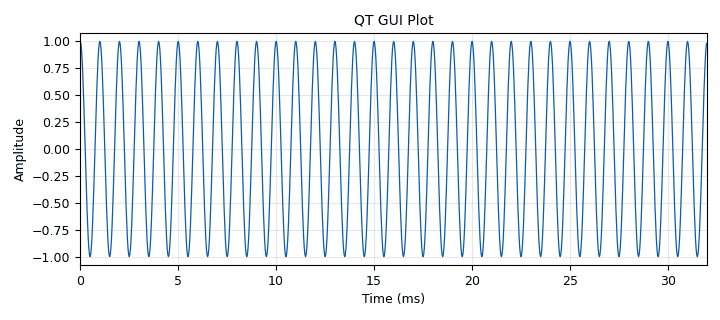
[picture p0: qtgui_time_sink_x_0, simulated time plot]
<?xml version='1.0' encoding='utf-8'?>
<flow_graph>
<block>
<key>options</key>
<param><key>id</key><value>matrix_multiply_demo</value></param>
<param><key>title</key><value>Matrix Multiply/Multiplex Demo</value></param>
<param><key>author</key><value>Martin Braun</value></param>
<param><key>description</key><value>A demonstration of multiply_matrix_ff to demonstrate how to use it for stream selection</value></param>
<param><key>generate_options</key><value>qt_gui</value></param>
<param><key>category</key><value>Custom</value></param>
</block>
<block>
<key>variable</key>
<param><key>id</key><value>samp_rate</value></param>
<param><key>value</key><value>32000</value></param>
</block>
<block>
<key>blocks_null_source</key>
<param><key>id</key><value>blocks_null_source_0</value></param>
<param><key>type</key><value>float</value></param>
<param><key>bus_conns</key><value>[[0,],]</value></param>
</block>
<block>
<key>analog_sig_source_x</key>
<param><key>id</key><value>analog_sig_source_x_0</value></param>
<param><key>type</key><value>float</value></param>
<param><key>samp_rate</key><value>samp_rate</value></param>
<param><key>waveform</key><value>analog.GR_COS_WAVE</value></param>
<param><key>freq</key><value>1000</value></param>
<param><key>amp</key><value>1</value></param>
<param><key>offset</key><value>0</value></param>
</block>
<block>
<key>qtgui_time_sink_x</key>
<param><key>id</key><value>qtgui_time_sink_x_0</value></param>
<param><key>type</key><value>float</value></param>
<param><key>name</key><value>QT GUI Plot</value></param>
<param><key>size</key><value>1024</value></param>
<param><key>srate</key><value>samp_rate</value></param>
<param><key>label1</key><value></value></param>
<param><key>color1</key><value>"blue"</value></param>
</block>
<block>
<key>qtgui_time_sink_x</key>
<param><key>id</key><value>qtgui_time_sink_x_1</value></param>
<param><key>type</key><value>float</value></param>
<param><key>name</key><value>QT GUI Plot</value></param>
<param><key>size</key><value>1024</value></param>
<param><key>srate</key><value>samp_rate</value></param>
<param><key>label1</key><value></value></param>
<param><key>color1</key><value>"blue"</value></param>
</block>
<block>
<key>blocks_multiply_matrix_xx</key>
<param><key>id</key><value>blocks_multiply_matrix_xx_0</value></param>
<param><key>type</key><value>float</value></param>
<param><key>tag_propagation_policy</key><value>999</value></param>
</block>
<block>
<key>blocks_stream_to_tagged_stream</key>
<param><key>id</key><value>blocks_stream_to_tagged_stream_0</value></param>
<param><key>type</key><value>float</value></param>
<param><key>packet_len</key><value>100</value></param>
<param><key>len_tag_key</key><value>"packet_len"</value></param>
</block>
<block>
<key>blocks_message_strobe</key>
<param><key>id</key><value>blocks_message_strobe_0</value></param>
<param><key>msg</key><value>pmt.to_pmt(new_A)</value></param>
<param><key>period</key><value>1000</value></param>
</block>
<block>
<key>variable_qtgui_chooser</key>
<param><key>id</key><value>new_A</value></param>
<param><key>label</key><value>Mode</value></param>
<param><key>type</key><value>raw</value></param>
<param><key>num_opts</key><value>3</value></param>
<param><key>value</key><value>((1, 0), (0, 1))</value></param>
<param><key>option0</key><value>((1, 0), (0, 1))</value></param>
<param><key>label0</key><value>Default</value></param>
<param><key>option1</key><value>((0, 1), (1, 0))</value></param>
<param><key>label1</key><value>Flip</value></param>
<param><key>option2</key><value>((.5, .5), (.5, .5))</value></param>
<param><key>label2</key><value>Mix</value></param>
</block>
<connection><source_block_id>blocks_null_source_0</source_block_id><sink_block_id>blocks_stream_to_tagged_stream_0</sink_block_id><source_key>0</source_key><sink_key>0</sink_key></connection>
<connection><source_block_id>analog_sig_source_x_0</source_block_id><sink_block_id>blocks_multiply_matrix_xx_0</sink_block_id><source_key>0</source_key><sink_key>0</sink_key></connection>
<connection><source_block_id>blocks_stream_to_tagged_stream_0</source_block_id><sink_block_id>blocks_multiply_matrix_xx_0</sink_block_id><source_key>0</source_key><sink_key>1</sink_key></connection>
<connection><source_block_id>blocks_multiply_matrix_xx_0</source_block_id><sink_block_id>qtgui_time_sink_x_0</sink_block_id><source_key>0</source_key><sink_key>0</sink_key></connection>
<connection><source_block_id>blocks_multiply_matrix_xx_0</source_block_id><sink_block_id>qtgui_time_sink_x_1</sink_block_id><source_key>1</source_key><sink_key>0</sink_key></connection>
<connection><source_block_id>blocks_message_strobe_0</source_block_id><sink_block_id>blocks_multiply_matrix_xx_0</sink_block_id><source_key>strobe</source_key><sink_key>set_A</sink_key></connection>
</flow_graph>
